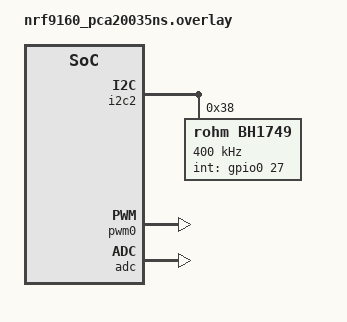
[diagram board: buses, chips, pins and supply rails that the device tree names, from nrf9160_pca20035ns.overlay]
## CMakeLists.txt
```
#
# Copyright (c) 2018 Nordic Semiconductor ASA
#
# SPDX-License-Identifier: LicenseRef-BSD-5-Clause-Nordic
#

include($ENV{ZEPHYR_BASE}/../nrf/cmake/boilerplate.cmake)

cmake_minimum_required(VERSION 3.8.2)
include($ENV{ZEPHYR_BASE}/cmake/app/boilerplate.cmake NO_POLICY_SCOPE)
project(thingy91)

FILE(GLOB app_sources src/*.c)
target_sources(app PRIVATE ${app_sources})
```

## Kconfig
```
#
# Copyright (c) 2018 Nordic Semiconductor ASA
#
# SPDX-License-Identifier: LicenseRef-BSD-5-Clause-Nordic
#

menu "Application sample"

config POWER_OPTIMIZATION_ENABLE
	bool "Enable power optimization"
	default n

config USE_AT_HOST
	bool "Enable AT commands"
	default n
	select AT_HOST_LIBRARY
	help
		Enable the AT host library so that AT commands can be sent to and
		received from a serial terminal.

config GPS_SIM_TRIGGER_TIMER_MSEC
	int
	default 120000 if POWER_OPTIMIZATION_ENABLE
	default 2000

config MQTT_KEEPALIVE
	int
	default 1000 if POWER_OPTIMIZATION_ENABLE
	default 120
choice
	prompt "GPS device"
	default GPS_USE_SIM
	help
		Select from which device GPS data will be fetched.

config GPS_USE_SIM
	bool "Use GPS simulator"
	select GPS_SIM
	select GPS_SIM_TRIGGER
	help
		Use simulated GPS data.

config GPS_USE_EXTERNAL
	bool "User provided GPS device"
	help
		Provide a GPS device that location data will be fetched from and
		sent to nRF Cloud

endchoice

if GPS_USE_SIM

config GPS_DEV_NAME
	string
	default GPS_SIM_DEV_NAME

config GPS_TRIGGER
	bool
	default GPS_SIM_TRIGGER

endif

if GPS_USE_EXTERNAL
config GPS_DEV_NAME
	string "GPS device name"
	help
		GPS device from which location data will be fetched and sent
		to nRF Cloud.

endif

choice
	prompt "Accelerometer device"
	default ACCEL_USE_SIM
	help
		Select which device will provide accelerometer data.

config ACCEL_USE_SIM
	bool "Use simulated accelerometer data"
	select SENSOR
	select SENSOR_SIM
	select SENSOR_SIM_TRIGGER
	select SENSOR_SIM_STATIC_VALUES
	help
		Use sensor simulator to generate accelerometer data for
		flip detection data sent to nRF Cloud.

config ACCEL_USE_EXTERNAL
	bool "User provided accelerometer device"
	help
		The user will provide an accelerometer device that will
		be used for flip detection.

endchoice

if ACCEL_USE_SIM
config ACCEL_DEV_NAME
	string
	default SENSOR_SIM_DEV_NAME

config ACCEL_TRIGGER
	bool
	default SENSOR_SIM_TRIGGER

config FLIP_INPUT
	int "Button or switch number to simulate flip"
	range 1 4 if BOARD_NRF9160_PCA10090NS
	range 1 1 if BOARD_NRF9160_PCA20035NS
	default 3 if BOARD_NRF9160_PCA10090NS
	default 1 if BOARD_NRF9160_PCA20035NS
	help
		Button or switch number to use for simulating
		a board flip event.
		1 - Button 1
		2 - Button 2
		3 - Switch 1
		4 - Switch 2
endif

config FLIP_POLL
	bool "Use polling to detect flip"
	default y if ACCEL_USE_EXTERNAL
	help
		Poll the defined accelerometer device at interval determined by
		FLIP_POLL_INTERVAL. Data will be sent to nRF Cloud if a flip
		has happened and the orientation thus has changed.

if FLIP_POLL
config FLIP_POLL_INTERVAL
	int "Flip detection poll interval"
	default 1000
	help
		Flip polling interval in milliseconds.
endif

if ACCEL_USE_EXTERNAL

config ACCEL_DEV_NAME
	string "Accelerometer device name"
	help
		Device from which accelerometer data will be fetched and used
		for orientation detection and sent to nRF Cloud.

endif

config ACCEL_INVERTED
	bool "Accelerometer inverted"
	default y if BOARD_NRF9160_PCA20035NS
	help
		Enable if the accelerometer is mounted with the top side facing
		down when the board itself is in normal position.

config ACCEL_CALIBRATE
	bool "Calibrate accelerometer"
	default y if BOARD_NRF9160_PCA20035NS
	help
		Calibrate the accelerometer on a flat surface to filter away
		static measurement offset that could affect orientation
		detection.

if ACCEL_CALIBRATE
config ACCEL_CALIBRATION_ITERATIONS
	int "Number of readings for calibration"
	default 20 if BOARD_NRF9160_PCA20035NS
	help
		Number of measurement readings to average over to find the
		static offset in the readings when calibrating the
		accelerometer.

config CALIBRATION_INPUT
	int "Button to trigger accelerometer calibration"
	range 1 2 if BOARD_NRF9160_PCA10090NS
	range 1 1 if BOARD_NRF9160_PCA20035NS
	default 1 if BOARD_NRF9160_PCA10090NS
	default 1 if BOARD_NRF9160_PCA20035NS
	help
		Button number to use to trigger accelerometer calibration:
		1 - Button 1
		2 - Button 2
endif

if !ACCEL_CALIBRATE
config ACCEL_CALIBRATION_ITERATIONS
	int
	default 0
endif

config ACCEL_ITERATIONS
	int "Number of readings per measurement"
	default 20 if BOARD_NRF9160_PCA20035NS
	default 1
	help
		Number of measurement readings to average over for each time
		the orientation detector determines the orientation of the
		board. Used for simple filtering of noisy measurements.

choice
	prompt "nRF Cloud user association"
	default CLOUD_UA_BUTTONS
	help
		Select which method to use for nRF Cloud user association
		input.

config CLOUD_UA_BUTTONS
	bool "Use buttons and switches"
	help
		Use buttons and switches on the development kit to provide
		user association input.

config CLOUD_UA_CONSOLE
	bool "Use console input"
	help
		Use console to enter nRF Cloud user association input.
		Allowed input is as follows:
		'b1' = Button 1
		'b2' = Button 2
		's1' = Switch 1
		's2' = Switch 2

endchoice


choice
	prompt "Temperature measurement device"
	default TEMP_USE_SIM
	help
		Select which device will provide temperature data.

config TEMP_USE_SIM
	bool "Use simulated temperature data"
	select SENSOR
	select SENSOR_SIM
	help
		Use sensor simulator to generate temperature data to send to
		nRF Cloud.

config TEMP_USE_EXTERNAL
	bool "User provided temperature device"
	help
		The user provides a temperature device that is
		used for temperature measurement.

endchoice

if TEMP_USE_SIM
config TEMP_DEV_NAME
	string
	default SENSOR_SIM_DEV_NAME

config TEMP_TRIGGER
	bool
	default SENSOR_SIM_TRIGGER

config TEMP_SIM_BUTTON
	int "Button or switch to trigger 'data ready' event"
	range 1 4 if BOARD_NRF9160_PCA10090NS
	range 1 1 if BOARD_NRF9160_PCA20035NS
	default 3 if BOARD_NRF9160_PCA10090NS
	default 1 if BOARD_NRF9160_PCA20035NS
	help
		Button or switch number to use for triggering
		a 'data ready' event.
		1 - Button 1
		2 - Button 2
		3 - Switch 1
		4 - Switch 2
endif

if TEMP_USE_EXTERNAL

config TEMP_DEV_NAME
	string "Temperature device name"
	help
		Device from which temperature data will be fetched and
		sent to nRF Cloud.

endif

if MODEM_INFO

config HOLD_TIME_RSRP
	int "Minimum time [s] between RSRP subscription messages"
	default 60
	help
		The minimum time in seconds where the modem
		informer is allowed to submit RSRP data to the cloud.

endif

endmenu

menu "Zephyr Kernel"
source "$ZEPHYR_BASE/Kconfig.zephyr"
endmenu
```

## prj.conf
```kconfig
#
# Copyright (c) 2018 Nordic Semiconductor ASA
#
# SPDX-License-Identifier: LicenseRef-BSD-5-Clause-Nordic
#
CONFIG_MAIN_STACK_SIZE=16384
CONFIG_HW_STACK_PROTECTION=n
CONFIG_THREAD_NAME=y
CONFIG_SERIAL=y
CONFIG_NO_OPTIMIZATIONS=y
CONFIG_ASSERT=y

CONFIG_HAS_SEGGER_RTT=n         # Enable RTT
CONFIG_USE_SEGGER_RTT=n

# Logging
CONFIG_LOG=y
CONFIG_LOG_DEFAULT_LEVEL=4
CONFIG_LOG_IMMEDIATE=n
CONFIG_SENSOR_LOG_LEVEL_DBG=n
CONFIG_LOG_BACKEND_RTT=n
CONFIG_NEWLIB_LIBC=y
CONFIG_NEWLIB_LIBC_FLOAT_PRINTF=y
#CONFIG_RTT_CONSOLE=n            # Use RTT console
#CONFIG_UART_CONSOLE=y           # Disable UART console
CONFIG_STDOUT_CONSOLE=y

# Sensors
CONFIG_SENSOR=y				# Enable sensor drivers
CONFIG_I2C=y
CONFIG_SPI=y
CONFIG_ACCEL_USE_EXTERNAL=y		# Use provided accelerometer, not simulated values
CONFIG_ADXL372=y			# Enable ADXL372 drivers
CONFIG_ADXL372_MEASUREMENT_MODE=y
CONFIG_ADXL362=y			# Enable ADXL372 drivers
CONFIG_ADXL372_SPI=y			# n by default (why)?
CONFIG_ADXL372_I2C=n                    # FO FAKKS SAKE
CONFIG_TEMP_USE_EXTERNAL=y
CONFIG_BME680=y				# Enable BME680 drivers
CONFIG_BH1749=y
CONFIG_BH1749_TRIGGER=y

# Library for buttons and LEDs
CONFIG_DK_LIBRARY=y
CONFIG_DK_LIBRARY_INVERT_LEDS=n

# PWM
CONFIG_PWM=y

# Voltage measurement
CONFIG_ADC=y
CONFIG_ADC_0=y
CONFIG_POLL=y
CONFIG_ADC_LOG_LEVEL=1
CONFIG_FLOAT=y
```

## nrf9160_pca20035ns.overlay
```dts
&i2c2 {
        bh1749@38 {
                  compatible = "rohm,bh1749";
                  label = "BH1749";
                  reg = <0x38>;
                  clock-frequency = <I2C_BITRATE_FAST>;
                  int-gpios = <&gpio0 27 0>;
        };
};

&pwm0 {
	status = "ok";
	ch0-pin = <28>;
};

&adc {
	status ="ok";
};
```

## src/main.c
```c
/*
 * Copyright (c) 2018 Nordic Semiconductor ASA
 *
 * SPDX-License-Identifier: LicenseRef-BSD-5-Clause-Nordic
 */
#include <string.h> // memset
#include <sensor.h>
#include <stdio.h>
#include <nrf_cloud.h>
#include <gpio.h>
#include <dk_buttons_and_leds.h>
#include <device.h>
#include <pwm.h>
#include <adc.h>
#include <nrf.h>
#include <zephyr.h>
// #include <SEGGER_RTT.h>

#define THRESHOLD_UPPER                 50
#define THRESHOLD_LOWER                 0
#define TRIGGER_ON_DATA_READY           0

#if defined(CONFIG_BOARD_NRF9160_PCA20035NS) ||	\
	defined(CONFIG_BOARD_NRF9160_PCA20035)
#include <hal/nrf_saadc.h>
#define ADC_DEVICE_NAME "ADC_0"
#define ADC_RESOLUTION 8
#define ADC_GAIN ADC_GAIN_1_6
#define ADC_REFERENCE ADC_REF_INTERNAL
#define ADC_ACQUISITION_TIME ADC_ACQ_TIME(ADC_ACQ_TIME_MICROSECONDS, 5)
#define ADC_CHANNEL_ID0 0
#define ADC_CHANNEL_ID1 1
#define ADC_CHANNEL_ID2 2
#define ADC_CHANNEL_INPUT0 NRF_SAADC_INPUT_AIN5
#define ADC_CHANNEL_INPUT1 NRF_SAADC_INPUT_AIN0
#define ADC_CHANNEL_INPUT2 NRF_SAADC_INPUT_AIN7
#define ADC_OVERSAMPLING 2 /* 2^ADC_OVERSAMPLING samples are averaged */
#define ADC_BUFFER_SIZE 3
#define LED_POLL_TIME 100
#define BUZZER_BEEP_INTERVAL 100

#else
#error "Unsupported board."
#endif

static K_SEM_DEFINE(sem, 0, 1);

#define prod_assert_equal(a, b, err, msg)				     \
	if (a != b) {							     \
		printk("Error at %s, line %d -  %s\r\n", __func__, __LINE__, \
		       msg);						     \
		return err;						     \
	}

#define prod_assert_not_equal(a, b, err, msg)				     \
	if (a == b) {							     \
		printk("Error at %s, line %d -  %s\r\n", __func__, __LINE__, \
		       msg);						     \
		return err;						     \
	}
#define prod_assert_not_null(a, err, msg)				     \
	if (a == NULL) {						     \
		printk("Error at %s, line %d -  %s\r\n", __func__, __LINE__, \
		       msg);						     \
		return err;						     \
	}
#define prod_assert_unreachable(msg)				     \
	printk("Error at %s, line %d -  %s\r\n", __func__, __LINE__, \
	       msg);						     \
	return -1;						     \

#define BUTTON_1 BIT(0)
#define BUTTON_2 BIT(1)
#define SWITCH_1 BIT(2)
#define SWITCH_2 BIT(3)

#define LEDS_PATTERN_WAIT (DK_LED2_MSK | DK_LED3_MSK)
#define LEDS_RED DK_LED1_MSK
#define LEDS_GREEN DK_LED2_MSK
#define LEDS_BLUE DK_LED3_MSK
#define BUZZER_PIN 28 // TP7
#define TOGGLE_PIN 16 // AIN3

/* There is an issue with the pwm driver, causing a 300us delay */
#define PWM_OFFSET 300
#define PWM_CHANNEL 0
#define OSC_FREQ_HZ 2700
#define OSC_FREQ_US ((1000000UL / OSC_FREQ_HZ))
#define PERIOD (OSC_FREQ_US / 2)        // > Need to set it half due to bug
#define DUTY_CYCLE (PERIOD / 2)         // > Maximum 50% Duty cycle due to bug

#define SENSE_LED_R             0
#define SENSE_LED_G             1
#define SENSE_LED_B             2

bool all_tests_succeeded = true;
struct sensor_value temp;

static u16_t m_sample_buffer[ADC_BUFFER_SIZE];

static enum current_component {
	CUR_BASE,
	CUR_LEDS_RED,
	CUR_LEDS_GREEN,
	CUR_LEDS_BLUE,
	CUR_SENSE_LED_R,
	CUR_SENSE_LED_G,
	CUR_SENSE_LED_B,
	CUR_BUZZER
};

static const struct adc_channel_cfg m_channel_cfg0 = {
	.gain = ADC_GAIN,
	.reference = ADC_REFERENCE,
	.acquisition_time = ADC_ACQUISITION_TIME,
	.channel_id = ADC_CHANNEL_ID0,
	.input_positive = ADC_CHANNEL_INPUT0,
	.input_negative = ADC_CHANNEL_INPUT2,
};
static const struct adc_channel_cfg m_channel_cfg1 = {
	.gain = ADC_GAIN,
	.reference = ADC_REFERENCE,
	.acquisition_time = ADC_ACQUISITION_TIME,
	.channel_id = ADC_CHANNEL_ID1,
	.input_positive = ADC_CHANNEL_INPUT1,
};
static const struct adc_channel_cfg m_channel_cfg2 = {
	.gain = ADC_GAIN,
	.reference = ADC_REFERENCE,
	.acquisition_time = ADC_ACQUISITION_TIME,
	.channel_id = ADC_CHANNEL_ID2,
	.input_positive = ADC_CHANNEL_INPUT2,
};

static void toggle_indicator_pin(void)
{
	struct device *gpio;
	static bool pin_state = false;

	gpio = device_get_binding(DT_GPIO_P0_DEV_NAME);

	if (pin_state) {
		gpio_pin_write(gpio, TOGGLE_PIN, 0);
		pin_state = false;
	} else {
		gpio_pin_write(gpio, TOGGLE_PIN, 1);
		pin_state = true;
	}
}

static struct device *init_adc(void)
{
	int ret;
	struct device *adc_dev = device_get_binding("ADC_0");

	prod_assert_not_null(adc_dev, -ENODEV, "Cannot get ADC device");

	ret = adc_channel_setup(adc_dev, &m_channel_cfg0);
	prod_assert_equal(
		ret, 0, -EIO,
		"Setting up of the first channel failed with code %d");
	ret = adc_channel_setup(adc_dev, &m_channel_cfg1);
	prod_assert_equal(
		ret, 0, -EIO,
		"Setting up of the second channel failed with code %d");
	ret = adc_channel_setup(adc_dev, &m_channel_cfg2);
	prod_assert_equal(
		ret, 0, -EIO,
		"Setting up of the third channel failed with code %d");

	(void)memset(m_sample_buffer, 0, sizeof(m_sample_buffer));

	return adc_dev;
}

static int measure_current_and_voltage(enum current_component component)
{
	int volatile ret;
	struct device *dev;
	float ma_current;

	const struct adc_sequence sequence = {
		.channels = BIT(ADC_CHANNEL_ID1),
		.buffer = m_sample_buffer,
		.buffer_size = sizeof(m_sample_buffer),
		.resolution = ADC_RESOLUTION,
	};

	k_sleep(200);
	toggle_indicator_pin();

	dev = device_get_binding("ADC_0");
	prod_assert_not_null(dev, -ENODEV, "Cannot get ADC device");

	ret = adc_read(dev, &sequence);
	prod_assert_equal(ret, 0, -EIO, "adc_read() failed with code %d\r\n");

	u8_t sample_value = (m_sample_buffer[0] & 0xFF);
	float voltage = ((3600.0 * sample_value) / 255.0);

	ma_current = (voltage * 1000.0 * 2.0) / 25.0;

	switch (component) {
		case CUR_BASE:
			printk("[CURRENT]: #Baseline# current: ");
			break;
		case CUR_LEDS_RED:
			printk("[CURRENT]: #LEDS_RED# current: ");
			break;
		case CUR_LEDS_GREEN:
			printk("[CURRENT]: #LEDS_GREEN# current: ");
			break;
		case CUR_LEDS_BLUE:
			printk("[CURRENT]: #LEDS_BLUE# current: ");
			break;
		case CUR_SENSE_LED_R:
			printk("[CURRENT]: #SENSE_LED_R# current: ");
			break;
		case CUR_SENSE_LED_G:
			printk("[CURRENT]: #SENSE_LED_G# current: ");
			break;
		case CUR_SENSE_LED_B:
			printk("[CURRENT]: #SENSE_LED_B# current: ");
			break;
		case CUR_BUZZER:
			printk("[CURRENT]: #Buzzer# current: ");
			break;
	}
	printf("%.3f mA - voltage: %.3f V\r\n", ma_current/1000, voltage/1000);

	toggle_indicator_pin();
	return 0;
}

static void run_test(int (*test)(void), char *testname)
{
	int ret;

	printk("============================\r\n");
	printk("Starting test: %s\r\n\r\n", testname);
	k_sleep(200);
	ret = test();
	if (ret != 0) {
		all_tests_succeeded = false;
		printk("\r\nFailed: %s\r\n", testname);
		return;
	}
	k_sleep(200);
	printk("\r\nSucceeded: %s\r\n", testname);
}

static int pca20035_ADXL372(void)
{
	int err = 0;

	struct device *dev;
	dev = device_get_binding("ADXL372");
	if (dev == NULL) {
		printk("[ERROR] ADXL372, no binding established.\n");
		return 0;
	}
	prod_assert_not_null(dev, -ENODEV, "Failed to get binding");
	err = sensor_sample_fetch_chan(dev, SENSOR_CHAN_ALL);
	prod_assert_equal(err, 0, -EIO, "Failed to fetch sensor data");
	k_sleep(10);
	err = sensor_channel_get(dev, SENSOR_CHAN_ACCEL_X, &temp);
	prod_assert_equal(err, 0, -EIO, "Failed to accel x");
	printk("ADXL372 X: %d.%d\r\n", temp.val1, temp.val2);
	// TODO: Fix, as float print hangs rtt for some reason.
	// printf("ADXL372 X: %.2f\r\n", sensor_value_to_double(&temp));
	// k_sleep(10);
	err = sensor_channel_get(dev, SENSOR_CHAN_ACCEL_Y, &temp);
	prod_assert_equal(err, 0, -EIO, "Failed to accel y");
	printk("ADXL372 Y: %d.%d\r\n", temp.val1, temp.val2);
	err = sensor_channel_get(dev, SENSOR_CHAN_ACCEL_Z, &temp);
	prod_assert_equal(err, 0, -EIO, "Failed to accel z");
	printk("ADXL372 Z: %d.%d\r\n", temp.val1, temp.val2);
	return 0;
}

static int pca20035_ADXL362(void)
{
	int err = 0;

	struct device *dev;
	dev = device_get_binding("ADXL362");
	if (dev == NULL) {
		printk("[ERROR] ADXL362, no binding established.\n");
		return 0;
	}
	prod_assert_not_null(dev, -ENODEV, "Failed to get binding");
	err = sensor_sample_fetch_chan(dev, SENSOR_CHAN_ALL);
	prod_assert_equal(err, 0, -EIO, "Failed to fetch sensor data");
	k_sleep(10);
	err = sensor_channel_get(dev, SENSOR_CHAN_ACCEL_X, &temp);
	prod_assert_equal(err, 0, -EIO, "Failed to accel x");
	printk("ADXL362 X: %d.%d\r\n", temp.val1, temp.val2);
	err = sensor_channel_get(dev, SENSOR_CHAN_ACCEL_Y, &temp);
	prod_assert_equal(err, 0, -EIO, "Failed to accel y");
	printk("ADXL362 Y: %d.%d\r\n", temp.val1, temp.val2);
	err = sensor_channel_get(dev, SENSOR_CHAN_ACCEL_Z, &temp);
	prod_assert_equal(err, 0, -EIO, "Failed to accel z");
	printk("ADXL362 Z: %d.%d\r\n", temp.val1, temp.val2);
	return 0;
}

static int pca20035_BME680(void)
{
	int err = 0;

	struct device *dev;
	dev = device_get_binding("BME680");
	// prod_assert_not_null(dev, "Failed to get sensor");
	prod_assert_not_null(dev, -ENODEV, "Failed to get binding");
	err = sensor_sample_fetch_chan(dev, SENSOR_CHAN_ALL);
	prod_assert_equal(err, 0, -EIO, "Failed to fetch sensor data");
	k_sleep(10);
	err = sensor_channel_get(dev, SENSOR_CHAN_AMBIENT_TEMP, &temp);
	prod_assert_equal(err, 0, -EIO, "Failed to get temperature");
	printk("BME680 temperature: %d.%d\r\n", temp.val1, temp.val2);

	k_sleep(10);
	err = sensor_channel_get(dev, SENSOR_CHAN_PRESS, &temp);
	prod_assert_equal(err, 0, -EIO, "Failed to get pressure");
	printk("BME680 pressure: %d.%d kPa\r\n", temp.val1, temp.val2);

	k_sleep(10);
	err = sensor_channel_get(dev, SENSOR_CHAN_HUMIDITY, &temp);
	prod_assert_equal(err, 0, -EIO, "Failed to get humidity");
	printk("BME680 humidity: %d.%d %%RH\r\n", temp.val1, temp.val2);

	k_sleep(10);
	err = sensor_channel_get(dev, SENSOR_CHAN_GAS_RES, &temp);
	prod_assert_equal(err, 0, -EIO, "Failed to get gas");
	printk("BME680 gas resistance: %d ohms\r\n", temp.val1);

	return 0;
}

static int pca20035_BH1749(void)
{
	struct device *dev;
	struct device *gpio;

	dev = device_get_binding("BH1749");
	prod_assert_not_null(dev, -ENODEV, "Failed to get binding");

	gpio = device_get_binding(DT_GPIO_P0_DEV_NAME);
	prod_assert_not_null(gpio, -ENODEV, "Failed to get binding to gpio");

	gpio_pin_write(gpio, SENSE_LED_R, 0);
	gpio_pin_write(gpio, SENSE_LED_G, 0);
	gpio_pin_write(gpio, SENSE_LED_B, 0);
	k_sleep(LED_POLL_TIME);

	gpio_pin_write(gpio, SENSE_LED_R, 1);
	gpio_pin_write(gpio, SENSE_LED_G, 0);
	gpio_pin_write(gpio, SENSE_LED_B, 0);
	measure_current_and_voltage(CUR_SENSE_LED_R);
	k_sleep(LED_POLL_TIME);
	gpio_pin_write(gpio, SENSE_LED_R, 0);
	gpio_pin_write(gpio, SENSE_LED_G, 0);
	gpio_pin_write(gpio, SENSE_LED_B, 0);
	k_sleep(LED_POLL_TIME);


	gpio_pin_write(gpio, SENSE_LED_R, 0);
	gpio_pin_write(gpio, SENSE_LED_G, 1);
	gpio_pin_write(gpio, SENSE_LED_B, 0);
	measure_current_and_voltage(CUR_SENSE_LED_G);
	k_sleep(LED_POLL_TIME);
	gpio_pin_write(gpio, SENSE_LED_R, 0);
	gpio_pin_write(gpio, SENSE_LED_G, 0);
	gpio_pin_write(gpio, SENSE_LED_B, 0);
	k_sleep(LED_POLL_TIME);

	gpio_pin_write(gpio, SENSE_LED_R, 0);
	gpio_pin_write(gpio, SENSE_LED_G, 0);
	gpio_pin_write(gpio, SENSE_LED_B, 1);
	measure_current_and_voltage(CUR_SENSE_LED_B);
	k_sleep(LED_POLL_TIME);
	gpio_pin_write(gpio, SENSE_LED_R, 0);
	gpio_pin_write(gpio, SENSE_LED_G, 0);
	gpio_pin_write(gpio, SENSE_LED_B, 0);
	k_sleep(LED_POLL_TIME);

	gpio_pin_write(gpio, SENSE_LED_R, 0);
	gpio_pin_write(gpio, SENSE_LED_G, 0);
	gpio_pin_write(gpio, SENSE_LED_B, 0);

	return 0;
}

static int pca20035_test_buzzer(void)
{
	volatile int err_code = 0xFF;
	static struct device *dev;
	static u32_t period = PERIOD;
	static u32_t duty_cycle = DUTY_CYCLE;

	dev = device_get_binding(DT_NORDIC_NRF_PWM_PWM_0_LABEL);
	prod_assert_not_null(dev, -ENODEV, "Failed to get binding");
	printk("Turning buzzer ON\n");
	err_code = pwm_pin_set_usec(dev, BUZZER_PIN, period, duty_cycle);
	prod_assert_equal(err_code, 0, -EIO, "Failed to set pwm pin");
	measure_current_and_voltage(CUR_BUZZER);
	k_sleep(BUZZER_BEEP_INTERVAL);
	printk("Turning buzzer OFF\n");
	err_code = pwm_pin_set_usec(dev, BUZZER_PIN, period, 0);
	prod_assert_equal(err_code, 0, -EIO, "Failed to clear pwm pin");
	return 0;
}

void main(void)
{
	int err;
	struct device *gpio;
	struct device *adc_dev;

	err = dk_leds_init();
	if (err) {
		printk("Could not initialize leds, err code: %d\n", err);
	}

	gpio = device_get_binding(DT_GPIO_P0_DEV_NAME);
	prod_assert_not_null(gpio, -ENODEV, "Failed to get binding to gpio");
	gpio_pin_configure(gpio, TOGGLE_PIN, GPIO_DIR_OUT);
	gpio_pin_configure(gpio, SENSE_LED_R, GPIO_DIR_OUT);
	gpio_pin_configure(gpio, SENSE_LED_G, GPIO_DIR_OUT);
	gpio_pin_configure(gpio, SENSE_LED_B, GPIO_DIR_OUT);

	gpio_pin_write(gpio, SENSE_LED_R, 0);
	gpio_pin_write(gpio, SENSE_LED_G, 0);
	gpio_pin_write(gpio, SENSE_LED_B, 0);

	adc_dev = init_adc();
	prod_assert_not_null(adc_dev, -ENODEV, "Failed to get binding to adc");
	k_sleep(100);

	printk("Starting production test - thingy:91\r\n");

	dk_set_leds(DK_NO_LEDS_MSK);
	measure_current_and_voltage(CUR_BASE);
	k_sleep(LED_POLL_TIME);
	dk_set_leds(LEDS_RED);
	measure_current_and_voltage(CUR_LEDS_RED);
	k_sleep(LED_POLL_TIME);
	dk_set_leds(DK_NO_LEDS_MSK);
	k_sleep(LED_POLL_TIME);
	dk_set_leds(LEDS_GREEN);
	measure_current_and_voltage(CUR_LEDS_GREEN);
	k_sleep(LED_POLL_TIME);
	dk_set_leds(DK_NO_LEDS_MSK);
	k_sleep(LED_POLL_TIME);
	dk_set_leds(LEDS_BLUE);
	measure_current_and_voltage(CUR_LEDS_BLUE);
	k_sleep(LED_POLL_TIME);
	dk_set_leds(DK_NO_LEDS_MSK);
	k_sleep(LED_POLL_TIME);

	run_test(&pca20035_BH1749, "pca20035_BH1749");
	run_test(&pca20035_ADXL372, "pca20035_ADXL372");
	run_test(&pca20035_ADXL362, "pca20035_ADXL362");
	run_test(&pca20035_BME680, "pca20035_BME680");
	// run_test(&pca20035_test_button, "pca20035_button");
	run_test(&pca20035_test_buzzer, "pca20035_buzzer");
	//run_test(&measure_voltage, "measure_voltage");
	k_sleep(500);
	// Stop execution if test failed.
	all_tests_succeeded ? printk("\r\nTEST SUITE SUCCESS!\r\n") :
	printk("\r\nTEST SUITE FAILED!\r\n");
	printk("\n");
}
```
